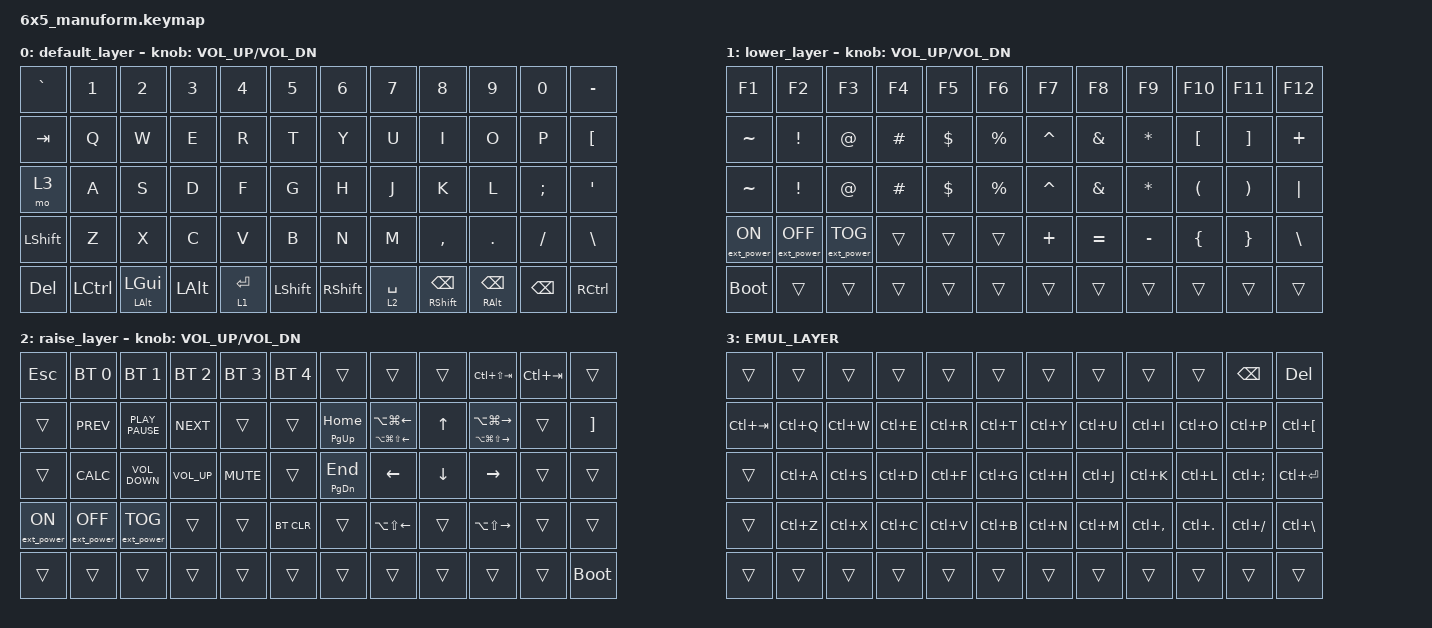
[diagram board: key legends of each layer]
/*
 * Copyright (c) 2020 The ZMK Contributors
 *
 * SPDX-License-Identifier: MIT
 */

#include <behaviors.dtsi>
#include <dt-bindings/zmk/bt.h>
#include <dt-bindings/zmk/ext_power.h>
#include <dt-bindings/zmk/keys.h>

/ {
    keymap {
        compatible = "zmk,keymap";

        default_layer {
            // ------------------------------------------------------------------------------------------------------------
            // |  ESC   |  1  |  2  |  3   |  4   |  5   |                    |  6   |  7    |  8    |  9   |   0   |   `   |
            // |  TAB   |  Q  |  W  |  E   |  R   |  T   |                    |  Y   |  U    |  I    |  O   |   P   |   -   |
            // |  CTRL  |  A  |  S  |  D   |  F   |  G   |                    |  H   |  J    |  K    |  L   |   ;   |   '   |
            // | SHIFT  |  Z  |  X  |  C   |  V   |  B   |                    |  N   |  M    |  ,    |  .   |   /   | SHIFT |
            // |    2   |  2  | f   | 6    | 4    | 1    |                    | 2    | 1     | w     | s    | n     |  a    |

            bindings = <
&kp GRAVE   &kp N1     &kp N2             &kp N3    &kp N4     &kp N5      &kp N6           &kp N7       &kp N8                     &kp N9                   &kp N0         &kp MINUS
&kp TAB     &kp Q      &kp W              &kp E     &kp R      &kp T       &kp Y            &kp U        &kp I                      &kp O                    &kp P          &kp LEFT_BRACKET
&mo 3       &kp A      &kp S              &kp D     &kp F      &kp G       &kp H            &kp J        &kp K                      &kp L                    &kp SEMI       &kp SQT
&kp LSHIFT  &kp Z      &kp X              &kp C     &kp V      &kp B       &kp N            &kp M        &kp COMMA                  &kp DOT                  &kp FSLH       &kp BSLH
&kp DEL     &kp LCTRL  &mt LEFT_ALT LGUI  &kp LALT  &lt 1 RET  &kp LSHIFT  &kp RIGHT_SHIFT  &lt 2 SPACE  &mt RIGHT_SHIFT BACKSPACE  &mt RIGHT_ALT BACKSPACE  &kp BACKSPACE  &kp RCTRL
            >;

            sensor-bindings = <&inc_dec_kp C_VOL_UP C_VOL_DN>;
        };

        lower_layer {
            // ------------------------------------------------------------------------------------------------------------
            // | BTCLR | BT1 | BT2 |  BT3 |  BT4 |  BT5 |                   |      |       |       |      |       |       |
            // |  F1   |  F2 |  F3 |  F4  |  F5  |  F6  |                   |  F7  |  F8   |  F9   |  F10 |  F11  |  F12  |
            // |   `   |  !  |  @  |  #   |  $   |  %   |                   |  ^   |  &    |  *    |  (   |   )   |   ~   |
            // |       |     |     |      |      |      |                   |      |  _    |  +    |  {   |   }   |  "|"  |
            // |       |     |     |      |      |      |                   |      |       |       |      |       |       |

            bindings = <
&kp F1            &kp F2             &kp F3             &kp F4    &kp F5      &kp F6       &kp F7     &kp F8         &kp F9        &kp F10               &kp F11                &kp F12
&kp TILDE         &kp EXCLAMATION    &kp AT_SIGN        &kp HASH  &kp DOLLAR  &kp PERCENT  &kp CARET  &kp AMPERSAND  &kp ASTERISK  &kp LEFT_BRACKET      &kp RIGHT_BRACKET      &kp PLUS
&kp TILDE         &kp EXCL           &kp AT             &kp HASH  &kp DOLLAR  &kp PRCNT    &kp CARET  &kp AMPS       &kp STAR      &kp LEFT_PARENTHESIS  &kp RIGHT_PARENTHESIS  &kp PIPE
&ext_power EP_ON  &ext_power EP_OFF  &ext_power EP_TOG  &trans    &trans      &trans       &kp PLUS   &kp EQUAL      &kp MINUS     &kp LEFT_BRACE        &kp RIGHT_BRACE        &kp BACKSLASH
&bootloader       &trans             &trans             &trans    &trans      &trans       &trans     &trans         &trans        &trans                &trans                 &trans
            >;

            sensor-bindings = <&inc_dec_kp C_VOL_UP C_VOL_DN>;
        };

        raise_layer {
            // ------------------------------------------------------------------------------------------------------------
            // |       |     |     |      |      |      |                   |      |       |       |      |       |       |
            // |   `   |  1  |  2  |  3   |  4   |  5   |                   |  6   |   7   |   8   |  9   |   0   |       |
            // |   F1  |  F2 |  F3 |  F4  |  F5  |  F6  |                   |      |   <-  |   v   |  ^   |  ->   |       |
            // |   F7  |  F8 |  F9 |  F10 |  F11 |  F12 |		             |  +   |   -   |   =   |  [   |   ]   |   \   |
            // |     |     |      |      |      |        |                   |       |      |       |       |      |       |

            bindings = <
&kp ESC           &bt BT_SEL 0       &bt BT_SEL 1       &bt BT_SEL 2  &bt BT_SEL 3  &bt BT_SEL 4  &trans             &trans                             &trans    &kp LC(LS(TAB))                      &kp LC(TAB)  &trans
&trans            &kp K_PREV         &kp K_PLAY_PAUSE   &kp K_NEXT    &trans        &trans        &mt PAGE_UP HOME   &mt LA(LG(LS(LEFT))) LA(LG(LEFT))  &kp UP    &mt LA(LG(LS(RIGHT))) LA(LG(RIGHT))  &trans       &kp RIGHT_BRACKET
&trans            &kp K_CALC         &kp C_VOLUME_DOWN  &kp C_VOL_UP  &kp C_MUTE    &trans        &mt PAGE_DOWN END  &kp LEFT                           &kp DOWN  &kp RIGHT                            &trans       &trans
&ext_power EP_ON  &ext_power EP_OFF  &ext_power EP_TOG  &trans        &trans        &bt BT_CLR    &trans             &kp LA(LS(LEFT))                   &trans    &kp LA(LS(RIGHT))                    &trans       &trans
&trans            &trans             &trans             &trans        &trans        &trans        &trans             &trans                             &trans    &trans                               &trans       &bootloader
            >;

            sensor-bindings = <&inc_dec_kp C_VOL_UP C_VOL_DN>;
        };

        EMUL_LAYER {
            bindings = <
&trans       &trans     &trans     &trans     &trans     &trans     &trans     &trans     &trans         &trans       &kp BACKSPACE  &kp DEL
&kp LC(TAB)  &kp LC(Q)  &kp LC(W)  &kp LC(E)  &kp LC(R)  &kp LC(T)  &kp LC(Y)  &kp LC(U)  &kp LC(I)      &kp LC(O)    &kp LC(P)      &kp LC(LEFT_BRACKET)
&trans       &kp LC(A)  &kp LC(S)  &kp LC(D)  &kp LC(F)  &kp LC(G)  &kp LC(H)  &kp LC(J)  &kp LC(K)      &kp LC(L)    &kp LC(SEMI)   &kp LC(RET)
&trans       &kp LC(Z)  &kp LC(X)  &kp LC(C)  &kp LC(V)  &kp LC(B)  &kp LC(N)  &kp LC(M)  &kp LC(COMMA)  &kp LC(DOT)  &kp LC(SLASH)  &kp LC(BACKSLASH)
&trans       &trans     &trans     &trans     &trans     &trans     &trans     &trans     &trans         &trans       &trans         &trans
            >;
        };
    };
};
